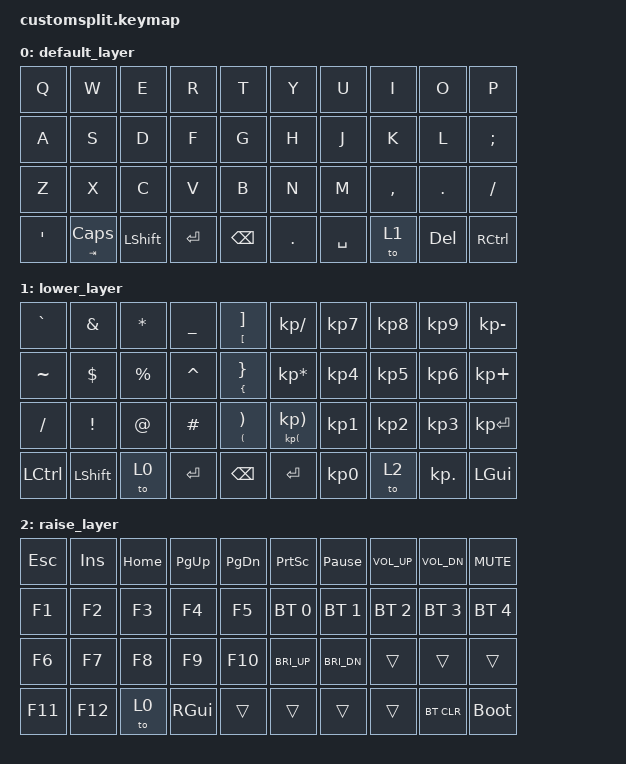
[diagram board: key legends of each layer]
/*
 * Copyright (c) 2020 The ZMK Contributors
 *
 * SPDX-License-Identifier: MIT
 */

#include <behaviors.dtsi>
#include <dt-bindings/zmk/keys.h>
#include <dt-bindings/zmk/bt.h>

/ {
        keymap {
                compatible = "zmk,keymap";

                default_layer {
// -----------------------------------------------------------------------------------------
// |  Q  |  W  |  E  |  R  |  T  |   |  Y  |  U   |  I  |  O  |  P  |
// |  A  |  S  |  D  |  F  |  G  |   |  H  |  J   |  K  |  L  |  ;  |
// |  Z  |  X  |  C  |  V  |  B  |   |  N  |  M   |  ,  |  .  |  /  |
// |  '  | TAB |SHIFT| ENT |BSPC |   |  .  | SPC  | LY1 | ALT | CTL |
                        bindings = <
   &kp Q &kp W        &kp E      &kp R   &kp T        &kp Y   &kp U     &kp I     &kp O   &kp P   
   &kp A &kp S        &kp D      &kp F   &kp G        &kp H   &kp J     &kp K     &kp L   &kp SEMI
   &kp Z &kp X        &kp C      &kp V   &kp B        &kp N   &kp M     &kp COMMA &kp DOT &kp FSLH
   &kp SQT  &mt TAB CAPS &kp LSHIFT &kp RET &kp BSPC     &kp DOT &kp SPACE &to 1     &kp DEL &kp RCTRL
                        >;
                };
                lower_layer {
// -----------------------------------------------------------------------------------------
// |  `  |  &  |  *  |  _  |  [] |   |  \  |  7  |  8  |  9  |  -  |
// |  ~  |  $  |  %  |  ^  |  {} |   |  *  |  4  |  5  |  6  |  +  |
// |  /  |  !  |  @  |  #  |  () |   |  () |  1  |  2  |  3  | RET |
// | DEL |SHIFT| LY0 | RET | BCSP|   | ENT |  0  | LY2 |  .  | GUI | 
                        bindings = <
   &kp GRAVE &kp AMPS   &kp STAR  &kp UNDER &mt LBKT RBKT    &kp KP_SLASH        &kp KP_N7 &kp KP_N8 &kp KP_N9  &kp KP_MINUS
   &kp TILDE &kp DLLR   &kp PRCNT &kp CARET &mt LBRC RBRC    &kp KP_MULTIPLY     &kp KP_N4 &kp KP_N5 &kp KP_N6  &kp KP_PLUS
   &kp FSLH  &kp EXCL   &kp AT    &kp HASH  &mt LPAR RPAR    &mt KP_LPAR KP_RPAR &kp KP_N1 &kp KP_N2 &kp KP_N3  &kp KP_ENTER
   &kp LCTRL &kp LSHIFT &to 0     &kp RET   &kp BSPC         &kp RET             &kp KP_N0 &to 2     &kp KP_DOT &kp LGUI
                        >;
                };

                raise_layer {
// -----------------------------------------------------------------------------------------
// | ESC | INS |HOME |PG UP|PG DN|   |PRTSC|Pause|VOLUP|VOLDN| MUTE|
// | F1  | F2  | F3  | F4  | F5  |   | BT1 | BT2 | BT3 | BT4 | BT5 |
// | F6  | F7  | F8  | F9  | F10 |   |BN_UP|BN_DN|KB_UP|KB_DN|BKLTT|
// | F11 | F12 | LY0 | FN  |     |   |     |     |     |BTCLR|BTLDR|
                        bindings = <
   &kp ESC &kp INS &kp HOME &kp PG_UP &kp PG_DN   &kp PSCRN    &kp PAUSE_BREAK &kp C_VOL_UP &kp C_VOL_DN &kp C_MUTE 
   &kp F1  &kp F2  &kp F3   &kp F4    &kp F5      &bt BT_SEL 0 &bt BT_SEL 1    &bt BT_SEL 2 &bt BT_SEL 3 &bt BT_SEL 4
   &kp F6  &kp F7  &kp F8   &kp F9    &kp F10     &kp C_BRI_UP &kp C_BRI_DN    &trans       &trans       &trans 
   &kp F11 &kp F12 &to 0    &kp RGUI  &trans      &trans       &trans          &trans       &bt BT_CLR   &bootloader
                        >;
                };
        };
};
